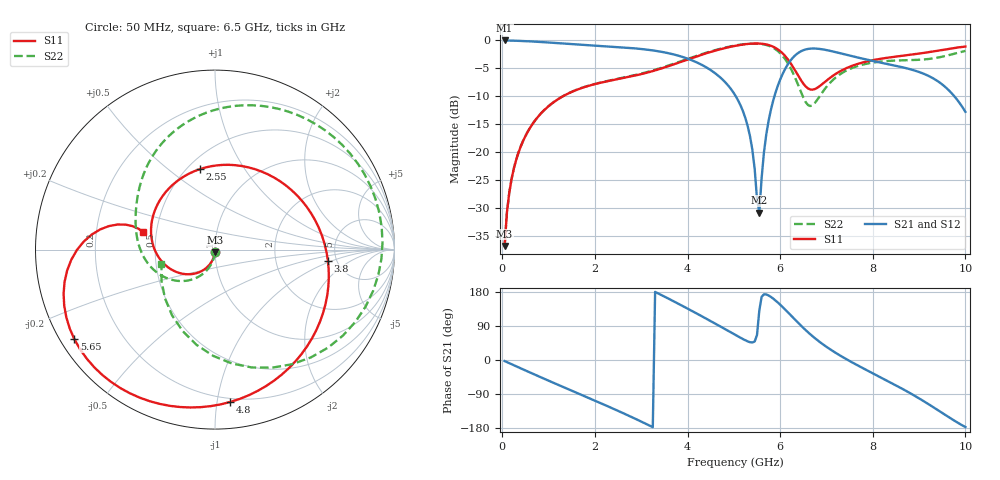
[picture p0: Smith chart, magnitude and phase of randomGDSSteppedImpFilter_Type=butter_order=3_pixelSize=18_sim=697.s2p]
! freq	dB(S11)	phase(S11)	dB(S12)	phase(S12)
!  dB(S21)	phase(S21)	dB(S22)	phase(S22)
!S-par simulation data
#  GHz  S  DB  R 50
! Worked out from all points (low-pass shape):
!   200 points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, 50 MHz to 10 GHz, reference 50 ohm
!   highest |S21| = 0.00 dB at 50 MHz (marker M1); lowest = -30.7 dB at 5.55 GHz (marker M2)
!   |S21| within 3 dB of the highest: start of sweep to 3.913 GHz; 6.284 GHz to 7.65 GHz (1.366 GHz wide, 19.6 % of centre)
!   lowest |S11| = -36.7 dB at 50 MHz (marker M3), VSWR 1.03, Z = 49.9 - j1.45 ohm
!   |S11| at or under -10 dB: start of sweep to 1.303 GHz
!   |S22| runs from -36.7 to -0.6 dB; largest |S21 - S12| = 0
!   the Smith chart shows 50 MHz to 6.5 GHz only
!   S11 on the Smith chart (normalised r, x): 50 MHz: 1.00, -0.03; 2.55 GHz: 0.57, +0.65; 3.8 GHz: 4.25, -0.86; 4.8 GHz: 0.17, -1.09; 5.65 GHz: 0.04, -0.29; 6.5 GHz: 0.42, +0.10
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0.05  -36.73 -92.4  -0.00 -2.8  -0.00 -2.8  -36.74 -92.3
0.2  -24.76 -102.8  -0.03 -11.1  -0.03 -11.1  -24.74 -99.9
0.5  -17.07 -121.8  -0.13 -27.6  -0.13 -27.6  -17.05 -114.7
1.75  -8.40 158.8  -0.80 -94.1  -0.80 -94.1  -8.37 -168.4
2.55  -6.82 100.8  -1.22 -136.9  -1.22 -136.9  -6.76 164.0
3.4  -5.10 29.0  -1.98 173.6  -1.98 173.6  -4.99 136.6
3.8  -3.99 -5.5  -2.72 148.6  -2.72 148.6  -3.87 120.9
4.8  -1.38 -84.2  -7.35 82.2  -7.35 82.2  -1.30 65.5
5.05  -0.93 -102.4  -10.08 65.0  -10.08 65.0  -0.87 47.3
5.35  -0.59 -124.4  -17.14 46.9  -17.14 46.9  -0.57 22.1
5.55  -0.56 -139.6  -30.73 130.7  -30.73 130.7  -0.59 2.3
5.65  -0.64 -147.5  -20.00 173.3  -20.00 173.3  -0.71 -8.7
6.1  -2.71 176.4  -5.21 134.2  -5.21 134.2  -3.24 -72.6
6.5  -7.71 166.3  -1.75 84.7  -1.75 84.7  -10.20 -164.7
6.7  -8.79 178.2  -1.44 62.7  -1.44 62.7  -11.56 126.3
7.05  -6.85 -174.0  -1.80 30.6  -1.80 30.6  -7.81 49.5
7.5  -4.70 173.8  -2.70 -2.7  -2.70 -2.7  -5.11 -2.2
8.35  -3.05 141.6  -4.27 -57.2  -4.27 -57.2  -3.65 -78.4
8.8  -2.57 124.7  -5.13 -87.0  -5.13 -87.0  -3.52 -123.6
9.3  -1.97 105.7  -6.75 -124.0  -6.75 -124.0  -3.21 174.8
9.7  -1.43 89.1  -9.40 -155.4  -9.40 -155.4  -2.50 119.6
10  -1.10 75.6  -12.75 -176.9  -12.75 -176.9  -1.87 80.6
